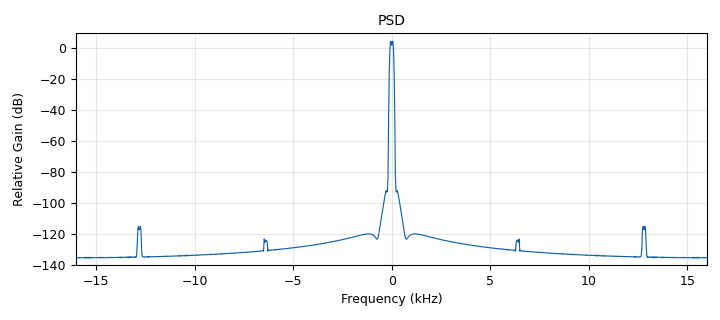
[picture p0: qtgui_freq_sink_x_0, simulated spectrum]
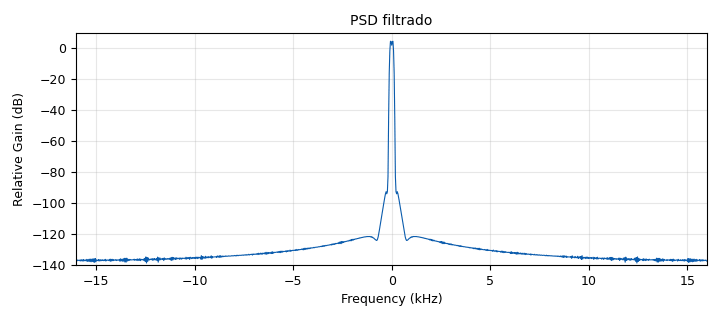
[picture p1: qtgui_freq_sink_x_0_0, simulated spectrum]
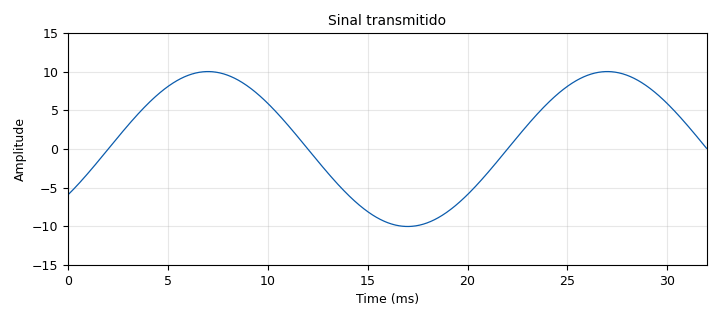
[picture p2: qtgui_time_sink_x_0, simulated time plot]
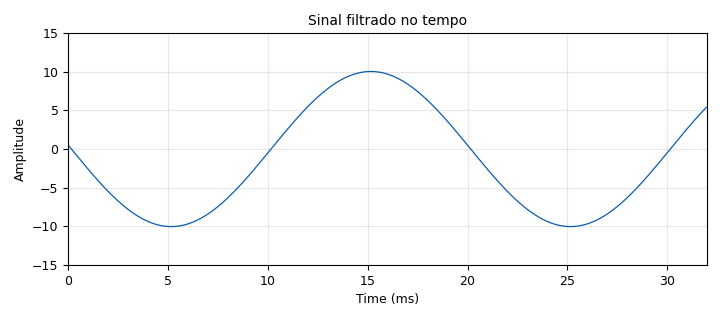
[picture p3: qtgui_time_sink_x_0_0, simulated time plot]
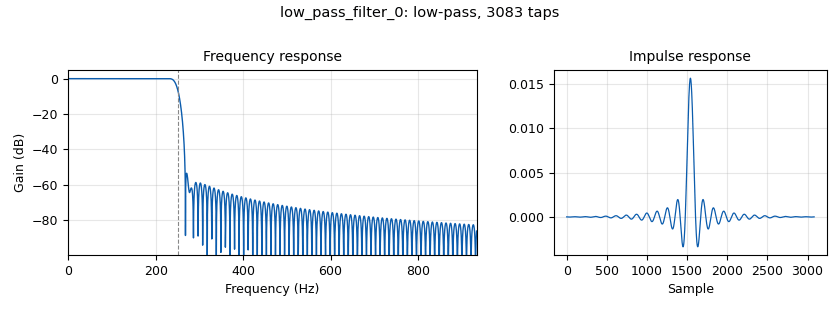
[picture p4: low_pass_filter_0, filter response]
options:
  parameters:
    author: araujo
    generate_options: qt_gui
    id: sinal
    output_language: python
    title: Not titled yet
  states: {}

blocks:
- name: freq_corte
  id: variable_qtgui_range
  parameters:
    label: Frequência de corte
    start: '0'
    step: '20'
    stop: '800'
    value: '250'
  states: {}
- name: frequencia
  id: variable_qtgui_range
  parameters:
    start: '0'
    step: '20'
    stop: 1e3
    value: '50'
  states: {}
- name: samp_rate
  id: variable
  parameters:
    value: '32000'
  states: {}
- name: analog_sig_source_x_0
  id: analog_sig_source_x
  parameters:
    amp: '10'
    freq: frequencia
    offset: '0'
    phase: '0'
    samp_rate: samp_rate
    type: float
    waveform: analog.GR_SIN_WAVE
  states: {}
- name: blocks_throttle_0
  id: blocks_throttle
  parameters:
    samples_per_second: samp_rate
    type: float
  states: {}
- name: low_pass_filter_0
  id: low_pass_filter
  parameters:
    cutoff_freq: freq_corte
    decim: '1'
    gain: '1'
    samp_rate: samp_rate
    type: fir_filter_fff
    width: '25'
    win: window.WIN_HAMMING
  states: {}
- name: qtgui_freq_sink_x_0
  id: qtgui_freq_sink_x
  parameters:
    bw: samp_rate
    fc: '0'
    fftsize: '1024'
    name: PSD
    type: float
  states: {}
- name: qtgui_freq_sink_x_0_0
  id: qtgui_freq_sink_x
  parameters:
    bw: samp_rate
    fc: '0'
    fftsize: '1024'
    name: PSD filtrado
    type: float
  states: {}
- name: qtgui_time_sink_x_0
  id: qtgui_time_sink_x
  parameters:
    name: Sinal transmitido
    size: '1024'
    srate: samp_rate
    type: float
    ymax: '15'
    ymin: '-15'
  states: {}
- name: qtgui_time_sink_x_0_0
  id: qtgui_time_sink_x
  parameters:
    name: Sinal filtrado no tempo
    size: '1024'
    srate: samp_rate
    type: float
    ymax: '15'
    ymin: '-15'
  states: {}

connections:
- [analog_sig_source_x_0, '0', blocks_throttle_0, '0']
- [blocks_throttle_0, '0', low_pass_filter_0, '0']
- [blocks_throttle_0, '0', qtgui_freq_sink_x_0, '0']
- [blocks_throttle_0, '0', qtgui_time_sink_x_0, '0']
- [low_pass_filter_0, '0', qtgui_freq_sink_x_0_0, '0']
- [low_pass_filter_0, '0', qtgui_time_sink_x_0_0, '0']

metadata:
  file_format: 1
